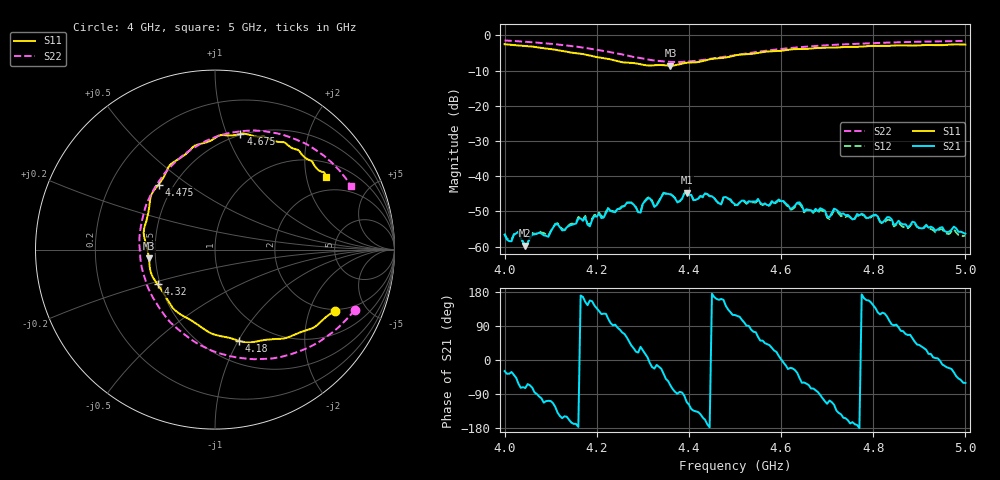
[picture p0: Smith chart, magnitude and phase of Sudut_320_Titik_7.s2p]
# Hz S RI R 50
! CMT, C1220, 16058040, 17.2.0/1
! Date: 15/08/2018 12:05:57
! Data: Format (Calibration Info)
! Freq  S11: Re/Im (F2)  S21: Re/Im (F2)  S12: Re/Im (F2)  S22: Re/Im (F2)
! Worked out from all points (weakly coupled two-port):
!   201 points, 4 GHz to 5 GHz, reference 50 ohm
!   highest |S21| = -44.74 dB at 4.395 GHz (marker M1); lowest = -59.7 dB at 4.045 GHz (marker M2)
!   lowest |S11| = -8.6 dB at 4.36 GHz (marker M3), VSWR 2.19, Z = 23 - j2.59 ohm
!   |S11| at or under -10 dB: nowhere
!   |S22| runs from -7.6 to -1.4 dB; largest |S21 - S12| = 0.00024
!   S11 on the Smith chart (normalised r, x): 4 GHz: 1.93, -3.00; 4.18 GHz: 0.72, -1.01; 4.32 GHz: 0.48, -0.22; 4.475 GHz: 0.41, +0.39; 4.675 GHz: 0.49, +1.12; 5 GHz: 1.46, +2.62
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4e9  0.6663 -0.3414  0.00128 -0.000721  0.00134 -0.000709  0.7775 -0.3367
4.015e9  0.6388 -0.3605  0.00101 -0.000625  0.00105 -0.000667  0.7501 -0.3699
4.03e9  0.605 -0.3876  0.000753 -0.00144  0.000769 -0.00143  0.7205 -0.4007
4.045e9  0.5708 -0.4192  0.000285 -0.000994  0.000263 -0.000977  0.6879 -0.4332
4.06e9  0.5361 -0.4405  0.000434 -0.00142  0.000553 -0.00146  0.6524 -0.4627
4.17e9  0.168 -0.5163  -0.00226 0.000548  -0.00237 0.000434  0.2828 -0.6086
4.18e9  0.1358 -0.5087  -0.00167 0.00118  -0.00174 0.0012  0.2412 -0.6097
4.225e9  -0.0303 -0.4622  -0.0011 0.00332  -0.00113 0.00339  0.0427 -0.5834
4.27e9  -0.1926 -0.3606  0.00277 0.00319  0.00273 0.00319  -0.151 -0.4875
4.295e9  -0.2572 -0.2915  0.00248 0.00173  0.00251 0.00174  -0.2468 -0.4075
4.32e9  -0.3202 -0.1932  0.00411 -0.00138  0.00428 -0.00142  -0.3213 -0.3068
4.335e9  -0.3517 -0.1423  0.00415 -0.00135  0.00421 -0.00144  -0.3596 -0.2413
4.36e9  -0.369 -0.0486  0.00211 -0.00508  0.00203 -0.00518  -0.4029 -0.1198
4.375e9  -0.3821 0.0209  7.65e-05 -0.00424  -4.83e-05 -0.00431  -0.4161 -0.0469
4.395e9  -0.3973 0.0927  -0.00203 -0.00543  -0.00211 -0.00543  -0.4213 0.0511
4.475e9  -0.3148 0.3616  -0.00465 0.00181  -0.0046 0.00193  -0.3071 0.3887
4.5e9  -0.2655 0.4457  -0.00191 0.00348  -0.00179 0.00342  -0.2436 0.4659
4.595e9  -0.0479 0.5979  0.00457 0.000859  0.00448 0.00078  0.0278 0.6368
4.67e9  0.1314 0.6422  0.000792 -0.00301  0.00076 -0.00291  0.2358 0.6627
4.675e9  0.1418 0.6448  0.000604 -0.00338  0.000545 -0.00325  0.2485 0.6619
4.835e9  0.434 0.5636  -0.000602 0.00254  -0.000592 0.00233  0.5694 0.5496
5e9  0.6193 0.4056  0.000748 -0.00132  0.000768 -0.00121  0.7574 0.3534
